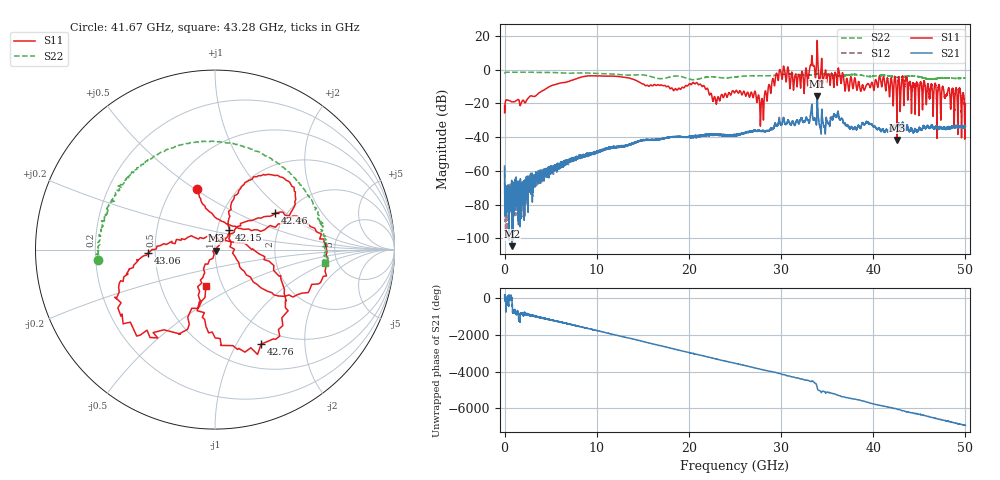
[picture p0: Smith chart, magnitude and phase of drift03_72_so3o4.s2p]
!Created with skrf (http://scikit-rf.org).
# Hz S RI R 50.0
!freq ReS11 ImS11 ReS21 ImS21 ReS12 ImS12 ReS22 ImS22
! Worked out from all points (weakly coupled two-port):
!   10001 points, 300 kHz to 50 GHz, reference 50 ohm
!   highest |S21| = -15.50 dB at 33.92 GHz (marker M1); lowest = -104.7 dB at 805.3 MHz (marker M2)
!   lowest |S11| = -41.7 dB at 42.57 GHz (marker M3), VSWR 1.02, Z = 50.6 - j0.607 ohm
!   |S11| at or under -10 dB: start of sweep to 4.853 GHz; 21.69 GHz to 28.62 GHz (6.93 GHz wide, 27.5 % of centre); 47.56 GHz to end of sweep (the widest 3 of 45)
!   |S22| runs from -5.9 to -1.3 dB; largest |S21 - S12| = 0.019
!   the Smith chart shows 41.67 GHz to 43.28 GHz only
!   S11 on the Smith chart (normalised r, x): 41.67 GHz: 0.66, +0.51; 42.15 GHz: 1.14, +0.25; 42.46 GHz: 1.75, +0.85; 42.76 GHz: 0.79, -1.27; 43.06 GHz: 0.46, -0.02; 43.28 GHz: 0.84, -0.36
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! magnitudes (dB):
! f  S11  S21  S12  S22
! 300 kHz  -21.3  -58.1  -56.5  -2.0
! 265.3 MHz  -17.9  -82.8  -88.3  -1.4
! 805.3 MHz  -19.1  -104.7  -75.4  -1.5
! 8.335 GHz  -4.3  -51.8  -51.2  -1.9
! 16.67 GHz  -8.8  -41.3  -41.3  -5.2
! 21.01 GHz  -8.7  -39.4  -39.5  -5.5
! 22.81 GHz  -16.1  -38.9  -38.5  -4.2
! 25 GHz  -13.4  -38.3  -38.8  -4.3
! 27.92 GHz  -17.1  -36.5  -36.4  -3.5
! 29.69 GHz  -6.4  -32.0  -31.7  -3.1
! 32.32 GHz  -1.5  -30.6  -30.7  -3.2
! 33.34 GHz  8.0  -20.4  -20.9  -2.9
! 33.92 GHz  17.4  -15.5  -15.8  -2.5
! 38.82 GHz  -9.2  -31.3  -31.7  -3.3
! 41.67 GHz  -9.0  -36.7  -36.7  -3.7
! 42.15 GHz  -17.3  -35.4  -35.1  -4.0
! 42.46 GHz  -8.1  -34.8  -34.8  -4.4
! 42.57 GHz  -41.7  -34.9  -34.8  -4.4
! 42.76 GHz  -4.6  -32.0  -32.0  -4.5
! 43.06 GHz  -8.5  -34.7  -34.7  -4.4
! 43.28 GHz  -13.6  -33.0  -32.7  -4.2
! 50 GHz  -20.1  -33.9  -33.9  -4.9
